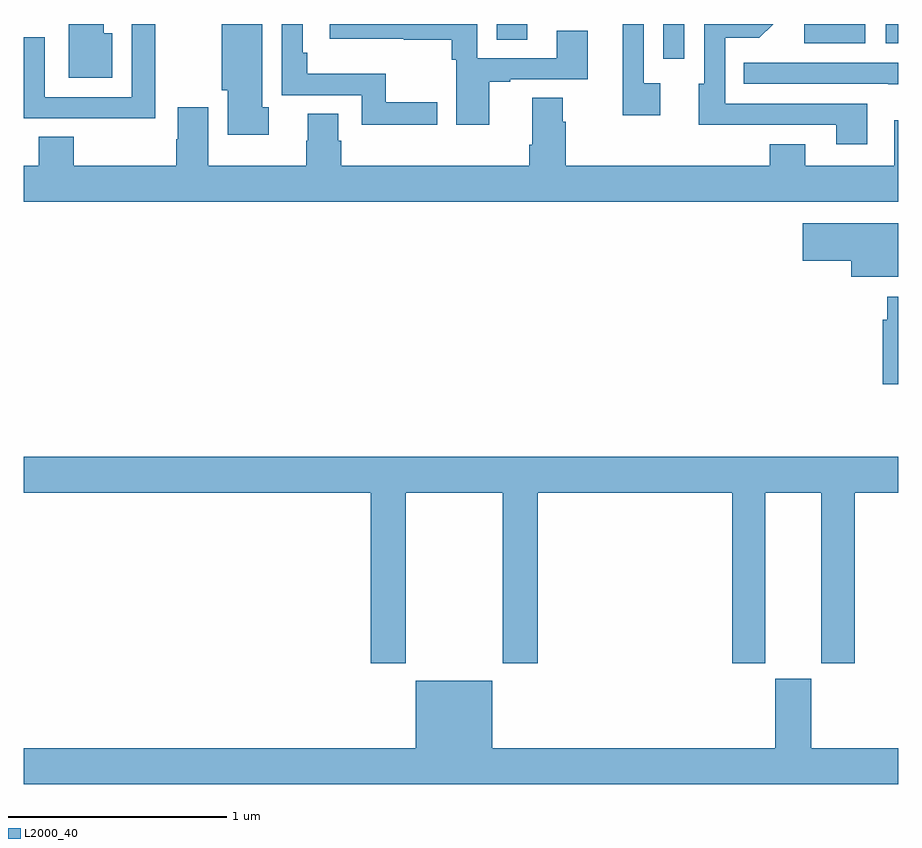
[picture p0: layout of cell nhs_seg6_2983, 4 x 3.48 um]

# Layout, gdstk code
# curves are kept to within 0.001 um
import gdstk
lib = gdstk.Library(unit=1e-6, precision=1e-09)
def R(c, l, rs):  # rectangles x0, y0, x1, y1
    for r in rs: c.add(gdstk.rectangle(r[:2], r[2:], *l))
def P(c, l, *ps):  # polygons
    for p in ps: c.add(gdstk.Polygon(p, *l))
L2000_40 = (2000, 40)

nhs_seg6_2983 = lib.new_cell('nhs_seg6_2983')
R(nhs_seg6_2983, L2000_40, [(289.926,929.34,290.022,929.5), (290.57,929.411,290.848,929.5), (290.942,929.411,291,929.5), (289.163,929.428,289.303,929.5)])
P(nhs_seg6_2983, L2000_40, [(288.121,929.12),(288.091,929.12),(288.091,929.5),(287.906,929.5),(287.906,929.196),(287.933,929.196),(287.933,928.994),(288.121,928.994)],
  [(287.404,929.458),(287.365,929.458),(287.365,929.5),(287.207,929.5),(287.207,929.255),(287.404,929.255)],
  [(287.602,929.5),(287.493,929.5),(287.493,929.166),(287.097,929.166),(287.097,929.44),(287.001,929.44),(287.001,929.07),(287.317,929.07),(287.317,929.069),(287.602,929.069)],
  [(288.892,929.141),(288.655,929.141),(288.655,929.272),(288.296,929.272),(288.296,929.368),(288.276,929.368),(288.276,929.5),(288.18,929.5),(288.18,929.175),(288.546,929.175),(288.546,929.039),(288.892,929.039)],
  [(289.129,929.235),(289.225,929.235),(289.225,929.247),(289.579,929.247),(289.579,929.468),(289.439,929.468),(289.439,929.343),(289.074,929.343),(289.074,929.5),(288.399,929.5),(288.399,929.432),(288.739,929.432),(288.739,929.428),(288.958,929.428),(288.958,929.336),(288.978,929.336),(288.978,929.04),(289.129,929.04)],
  [(289.912,929.23),(289.836,929.23),(289.836,929.5),(289.739,929.5),(289.739,929.082),(289.912,929.082)],
  [(290.857,929.136),(290.208,929.136),(290.208,929.436),(290.365,929.436),(290.429,929.5),(290.112,929.5),(290.112,929.226),(290.087,929.226),(290.087,929.039),(290.717,929.04),(290.717,928.95),(290.857,928.95)],
  [(291,929.322),(290.293,929.322),(290.293,929.226),(290.953,929.226),(290.953,929.225),(291,929.225)],
  [(291,929.059),(290.981,929.059),(290.981,928.852),(290.575,928.852),(290.575,928.951),(290.411,928.951),(290.411,928.852),(289.478,928.852),(289.478,929.054),(289.465,929.054),(289.465,929.162),(289.325,929.162),(289.325,928.948),(289.313,928.948),(289.313,928.852),(288.452,928.852),(288.452,928.965),(288.439,928.965),(288.439,929.09),(288.299,929.09),(288.299,928.965),(288.292,928.965),(288.292,928.852),(287.845,928.852),(287.845,929.119),(287.705,929.119),(287.705,928.973),(287.698,928.973),(287.698,928.852),(287.229,928.852),(287.229,928.985),(287.069,928.985),(287.069,928.852),(287,928.852),(287,928.688),(291,928.688)],
  [(291,928.588),(290.562,928.588),(290.562,928.418),(290.786,928.418),(290.786,928.343),(291,928.343)],
  [(291,928.252),(290.949,928.252),(290.949,928.148),(290.929,928.148),(290.929,927.852),(291,927.852)],
  [(288.747,927.356),(289.192,927.356),(289.192,926.577),(289.352,926.577),(289.352,927.356),(290.24,927.356),(290.24,926.577),(290.392,926.577),(290.392,927.356),(290.648,927.356),(290.648,926.577),(290.801,926.577),(290.801,927.356),(291,927.356),(291,927.52),(287,927.52),(287,927.356),(288.587,927.356),(288.587,926.577),(288.747,926.577)],
  [(291,926.188),(290.602,926.188),(290.602,926.505),(290.438,926.505),(290.438,926.188),(289.144,926.188),(289.144,926.497),(288.794,926.497),(288.794,926.188),(287,926.188),(287,926.024),(291,926.024)])

lib.write_gds('nhs_seg6_2983.gds')
